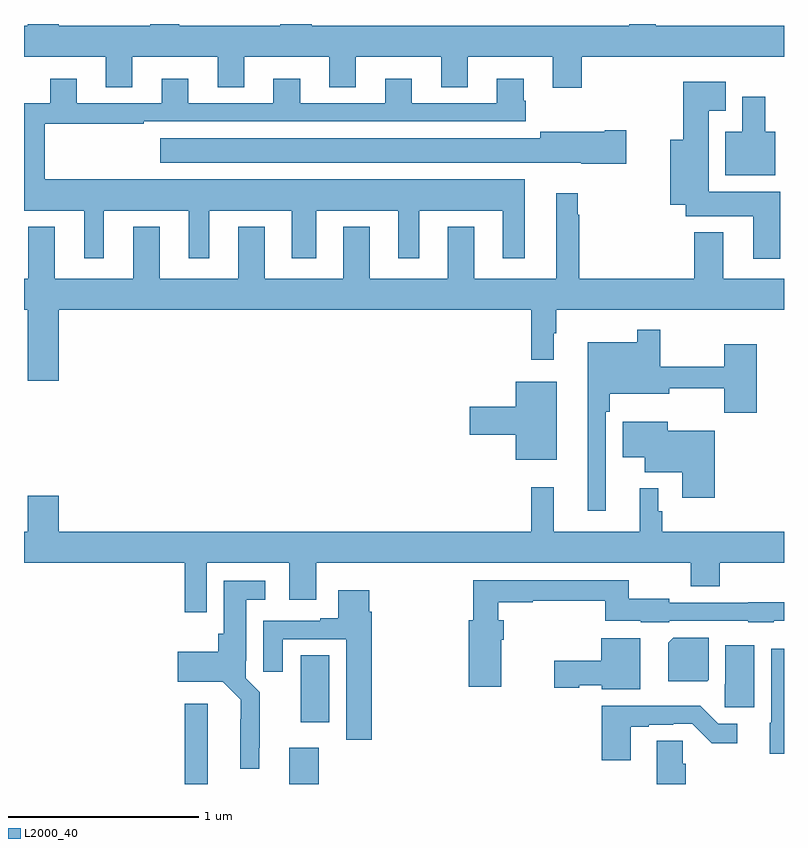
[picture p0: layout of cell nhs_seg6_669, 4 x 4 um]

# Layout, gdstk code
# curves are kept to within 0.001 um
import gdstk
lib = gdstk.Library(unit=1e-6, precision=1e-09)
def R(c, l, rs):  # rectangles x0, y0, x1, y1
    for r in rs: c.add(gdstk.rectangle(r[:2], r[2:], *l))
def P(c, l, *ps):  # polygons
    for p in ps: c.add(gdstk.Polygon(p, *l))
L2000_40 = (2000, 40)

nhs_seg6_669 = lib.new_cell('nhs_seg6_669')
R(nhs_seg6_669, L2000_40, [(153.845,951.5,153.967,951.922), (154.397,951.5,154.55,951.691), (154.457,951.825,154.606,952.178)])
P(nhs_seg6_669, L2000_40, [(155.936,955.328),(157,955.328),(157,955.492),(156.325,955.492),(156.325,955.5),(156.186,955.5),(156.186,955.492),(154.514,955.492),(154.514,955.5),(154.349,955.5),(154.349,955.492),(153.818,955.492),(153.818,955.5),(153.665,955.5),(153.665,955.492),(153.184,955.492),(153.184,955.5),(153.02,955.5),(153.02,955.492),(153,955.492),(153,955.328),(153.431,955.328),(153.431,955.168),(153.571,955.168),(153.571,955.328),(154.019,955.328),(154.019,955.168),(154.159,955.168),(154.159,955.328),(154.607,955.328),(154.607,955.168),(154.747,955.168),(154.747,955.328),(155.195,955.328),(155.195,955.168),(155.335,955.168),(155.335,955.328),(155.783,955.328),(155.783,955.164),(155.936,955.164)],
  [(153.421,954.518),(153.866,954.518),(153.866,954.267),(153.976,954.267),(153.976,954.518),(154.409,954.518),(154.409,954.267),(154.537,954.267),(154.537,954.518),(154.97,954.518),(154.97,954.267),(155.08,954.267),(155.08,954.518),(155.519,954.518),(155.519,954.267),(155.635,954.267),(155.635,954.682),(153.109,954.682),(153.109,954.975),(153.629,954.975),(153.629,954.987),(155.642,954.987),(155.642,955.095),(155.629,955.095),(155.629,955.213),(155.489,955.213),(155.489,955.083),(155.041,955.083),(155.041,955.213),(154.901,955.213),(154.901,955.083),(154.453,955.083),(154.453,955.213),(154.313,955.213),(154.313,955.083),(153.865,955.083),(153.865,955.213),(153.725,955.213),(153.725,955.083),(153.277,955.083),(153.277,955.213),(153.137,955.213),(153.137,955.084),(153,955.084),(153,954.518),(153.317,954.518),(153.317,954.267),(153.421,954.267)],
  [(156.979,954.616),(156.604,954.616),(156.604,955.043),(156.694,955.043),(156.694,955.195),(156.47,955.195),(156.47,954.892),(156.401,954.892),(156.401,954.548),(156.482,954.548),(156.482,954.488),(156.839,954.488),(156.839,954.264),(156.979,954.264)],
  [(156.955,954.934),(156.901,954.934),(156.901,955.117),(156.779,955.117),(156.779,954.934),(156.692,954.934),(156.692,954.704),(156.955,954.704)],
  [(156.169,954.942),(156.056,954.942),(156.056,954.934),(155.717,954.934),(155.717,954.898),(153.717,954.898),(153.717,954.77),(155.934,954.77),(155.934,954.764),(156.169,954.764)],
  [(153.184,953.996),(155.671,953.996),(155.671,953.733),(155.788,953.733),(155.788,953.873),(155.8,953.873),(155.8,953.996),(157,953.996),(157,954.16),(156.679,954.16),(156.679,954.403),(156.527,954.403),(156.527,954.16),(155.923,954.16),(155.923,954.497),(155.915,954.497),(155.915,954.61),(155.801,954.61),(155.801,954.16),(155.371,954.16),(155.371,954.433),(155.231,954.433),(155.231,954.16),(154.819,954.16),(154.819,954.433),(154.679,954.433),(154.679,954.16),(154.267,954.16),(154.267,954.433),(154.127,954.433),(154.127,954.16),(153.715,954.16),(153.715,954.433),(153.575,954.433),(153.575,954.16),(153.163,954.16),(153.163,954.433),(153.023,954.433),(153.023,954.16),(153,954.16),(153,953.996),(153.02,953.996),(153.02,953.622),(153.184,953.622)],
  [(156.063,953.459),(156.083,953.459),(156.083,953.555),(156.396,953.555),(156.396,953.584),(156.686,953.584),(156.686,953.454),(156.857,953.454),(156.857,953.815),(156.686,953.815),(156.686,953.695),(156.349,953.695),(156.349,953.89),(156.228,953.89),(156.228,953.824),(155.966,953.824),(155.966,952.938),(156.063,952.938)],
  [(155.803,953.617),(155.588,953.617),(155.588,953.486),(155.346,953.486),(155.346,953.339),(155.588,953.339),(155.588,953.207),(155.803,953.207)],
  [(156.635,953.359),(156.388,953.359),(156.388,953.407),(156.152,953.407),(156.152,953.219),(156.266,953.219),(156.266,953.141),(156.464,953.141),(156.464,953.007),(156.635,953.007)],
  [(153.963,952.664),(154.397,952.664),(154.397,952.47),(154.537,952.47),(154.537,952.664),(156.508,952.664),(156.508,952.54),(156.663,952.54),(156.663,952.664),(157,952.664),(157,952.828),(156.359,952.828),(156.359,952.935),(156.339,952.935),(156.339,953.056),(156.242,953.056),(156.242,952.828),(155.789,952.828),(155.789,953.062),(155.671,953.062),(155.671,952.828),(153.184,952.828),(153.184,953.017),(153.02,953.017),(153.02,952.828),(153,952.828),(153,952.664),(153.847,952.664),(153.847,952.404),(153.963,952.404)],
  [(155.512,952.259),(155.525,952.259),(155.525,952.363),(155.497,952.363),(155.497,952.456),(155.678,952.456),(155.678,952.464),(156.059,952.464),(156.059,952.358),(156.246,952.358),(156.246,952.352),(156.396,952.352),(156.396,952.359),(156.813,952.359),(156.813,952.352),(156.945,952.352),(156.945,952.358),(157,952.358),(157,952.457),(156.813,952.457),(156.813,952.455),(156.396,952.455),(156.396,952.474),(156.184,952.474),(156.184,952.572),(155.365,952.572),(155.365,952.363),(155.342,952.363),(155.342,952.011),(155.512,952.011)],
  [(154.237,951.691),(154.241,951.691),(154.241,951.982),(154.167,952.056),(154.167,952.15),(154.171,952.15),(154.171,952.469),(154.27,952.469),(154.27,952.57),(154.052,952.57),(154.052,952.29),(154.022,952.29),(154.022,952.195),(153.81,952.195),(153.81,952.037),(154.047,952.037),(154.14,951.944),(154.139,951.581),(154.237,951.581)],
  [(154.829,952.406),(154.816,952.406),(154.816,952.519),(154.655,952.519),(154.655,952.372),(154.559,952.372),(154.559,952.359),(154.259,952.359),(154.259,952.092),(154.363,952.092),(154.363,952.263),(154.697,952.263),(154.697,951.732),(154.829,951.732)],
  [(156.604,952.048),(156.604,952.27),(156.418,952.27),(156.392,952.244),(156.392,952.04),(156.596,952.04)],
  [(156.244,952.268),(156.038,952.268),(156.038,952.149),(155.79,952.149),(155.79,952.007),(155.922,952.007),(155.922,952.019),(156.042,952.019),(156.042,951.998),(156.244,951.998)],
  [(156.844,952.231),(156.692,952.231),(156.692,952.026),(156.688,952.026),(156.688,951.903),(156.844,951.903)],
  [(157,952.213),(156.932,952.213),(156.932,951.822),(156.926,951.822),(156.926,951.66),(157,951.66)],
  [(156.193,951.801),(156.289,951.801),(156.289,951.813),(156.416,951.813),(156.416,951.816),(156.516,951.816),(156.619,951.714),(156.754,951.714),(156.754,951.816),(156.654,951.816),(156.559,951.911),(156.041,951.911),(156.041,951.624),(156.193,951.624)],
  [(156.482,951.606),(156.468,951.606),(156.468,951.728),(156.329,951.728),(156.329,951.5),(156.482,951.5)])

lib.write_gds('nhs_seg6_669.gds')
